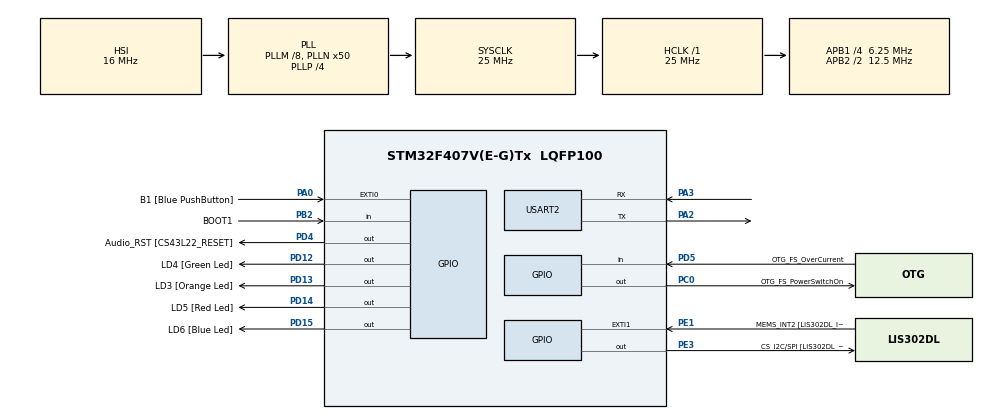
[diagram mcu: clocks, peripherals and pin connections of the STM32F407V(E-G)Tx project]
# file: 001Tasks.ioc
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Dma.Request0=USART2_RX
Dma.Request1=USART2_TX
Dma.USART2_RX.0.Direction=DMA_PERIPH_TO_MEMORY
Dma.USART2_RX.0.FIFOMode=DMA_FIFOMODE_DISABLE
Dma.USART2_RX.0.Instance=DMA1_Stream5
Dma.USART2_RX.0.MemDataAlignment=DMA_MDATAALIGN_BYTE
Dma.USART2_RX.0.MemInc=DMA_MINC_ENABLE
Dma.USART2_RX.0.Mode=DMA_NORMAL
Dma.USART2_RX.0.PeriphDataAlignment=DMA_PDATAALIGN_BYTE
Dma.USART2_RX.0.PeriphInc=DMA_PINC_DISABLE
Dma.USART2_RX.0.Priority=DMA_PRIORITY_LOW
Dma.USART2_TX.1.Direction=DMA_MEMORY_TO_PERIPH
Dma.USART2_TX.1.FIFOMode=DMA_FIFOMODE_DISABLE
Dma.USART2_TX.1.Instance=DMA1_Stream6
Dma.USART2_TX.1.MemDataAlignment=DMA_MDATAALIGN_BYTE
Dma.USART2_TX.1.MemInc=DMA_MINC_ENABLE
Dma.USART2_TX.1.Mode=DMA_NORMAL
Dma.USART2_TX.1.PeriphDataAlignment=DMA_PDATAALIGN_BYTE
Dma.USART2_TX.1.PeriphInc=DMA_PINC_DISABLE
Dma.USART2_TX.1.Priority=DMA_PRIORITY_LOW
Mcu.Family=STM32F4
Mcu.Name=STM32F407V(E-G)Tx
Mcu.Package=LQFP100
NVIC.DMA1_Stream5_IRQn=true\:0\:0\:false\:false\:true\:false\:true\:true
NVIC.DMA1_Stream6_IRQn=true\:0\:0\:false\:false\:true\:false\:true\:true
NVIC.PriorityGroup=NVIC_PRIORITYGROUP_4
NVIC.TIM6_DAC_IRQn=true\:0\:0\:false\:false\:true\:false\:true\:true
NVIC.TimeBase=TIM6_DAC_IRQn
NVIC.TimeBaseIP=TIM6
NVIC.USART2_IRQn=true\:0\:0\:false\:false\:true\:true\:true\:true
PA0-WKUP.GPIO_Label=B1 [Blue PushButton]
PA0-WKUP.Signal=GPXTI0
PA10.GPIO_Label=OTG_FS_ID
PA10.GPIO_Mode=GPIO_MODE_AF_PP
PA10.GPIO_PuPd=GPIO_NOPULL
PA10.GPIO_Speed=GPIO_SPEED_FREQ_LOW
PA10.Signal=USB_OTG_FS_ID
PA11.GPIO_Label=OTG_FS_DM
PA11.GPIO_Mode=GPIO_MODE_AF_PP
PA11.GPIO_PuPd=GPIO_NOPULL
PA11.GPIO_Speed=GPIO_SPEED_FREQ_LOW
PA11.Signal=USB_OTG_FS_DM
PA12.GPIO_Label=OTG_FS_DP
PA12.GPIO_Mode=GPIO_MODE_AF_PP
PA12.GPIO_PuPd=GPIO_NOPULL
PA12.GPIO_Speed=GPIO_SPEED_FREQ_LOW
PA12.Signal=USB_OTG_FS_DP
PA13.GPIO_Label=SWDIO
PA13.Signal=SYS_JTMS-SWDIO
PA14.GPIO_Label=SWCLK
PA14.Signal=SYS_JTCK-SWCLK
PA2.Mode=Asynchronous
PA2.Signal=USART2_TX
PA3.Mode=Asynchronous
PA3.Signal=USART2_RX
PA4.GPIO_Label=I2S3_WS [CS43L22_LRCK]
PA4.GPIO_Mode=GPIO_MODE_AF_PP
PA4.GPIO_PuPd=GPIO_NOPULL
PA4.GPIO_Speed=GPIO_SPEED_FREQ_LOW
PA4.Signal=I2S3_WS
PA5.GPIO_Label=SPI1_SCK [LIS302DL_SCL/SPC]
PA5.GPIO_Mode=GPIO_MODE_AF_PP
PA5.GPIO_PuPd=GPIO_NOPULL
PA5.GPIO_Speed=GPIO_SPEED_FREQ_LOW
PA5.Signal=SPI1_SCK
PA6.GPIO_Label=SPI1_MISO [LIS302DL_SDO]
PA6.GPIO_Mode=GPIO_MODE_AF_PP
PA6.GPIO_PuPd=GPIO_NOPULL
PA6.GPIO_Speed=GPIO_SPEED_FREQ_LOW
PA6.Signal=SPI1_MISO
PA7.GPIO_Label=SPI1_MOSI [LIS302DL_SDA/SDI/SDO]
PA7.GPIO_Mode=GPIO_MODE_AF_PP
PA7.GPIO_PuPd=GPIO_NOPULL
PA7.GPIO_Speed=GPIO_SPEED_FREQ_LOW
PA7.Signal=SPI1_MOSI
PA9.GPIO_Label=VBUS_FS
PA9.GPIO_Mode=GPIO_MODE_INPUT
PA9.GPIO_PuPd=GPIO_NOPULL
PA9.Signal=USB_OTG_FS_VBUS
PB10.GPIO_Label=CLK_IN [MP45DT02_CLK]
PB10.GPIO_Mode=GPIO_MODE_AF_PP
PB10.GPIO_PuPd=GPIO_NOPULL
PB10.GPIO_Speed=GPIO_SPEED_FREQ_LOW
PB10.Signal=I2S2_CK
PB2.GPIO_Label=BOOT1
PB2.GPIO_Mode=GPIO_MODE_INPUT
PB2.GPIO_PuPd=GPIO_NOPULL
PB2.Signal=GPIO_Input
PB3.GPIO_Label=SWO
PB3.Signal=SYS_JTDO-SWO
PB6.GPIO_Label=Audio_SCL [CS43L22_SCL]
PB6.GPIO_Mode=GPIO_MODE_AF_OD
PB6.GPIO_PuPd=GPIO_NOPULL
PB6.GPIO_Speed=GPIO_SPEED_FREQ_LOW
PB6.Signal=I2C1_SCL
PB9.GPIO_Label=Audio_SDA [CS43L22_SDA]
PB9.GPIO_Mode=GPIO_MODE_AF_OD
PB9.GPIO_PuPd=GPIO_NOPULL
PB9.GPIO_Speed=GPIO_SPEED_FREQ_LOW
PB9.Signal=I2C1_SDA
PC0.GPIO_Label=OTG_FS_PowerSwitchOn
PC0.GPIO_PuPd=GPIO_NOPULL
PC0.GPIO_Speed=GPIO_SPEED_FREQ_LOW
PC0.PinState=GPIO_PIN_SET
PC0.Signal=GPIO_Output
PC10.GPIO_Label=I2S3_SCK [CS43L22_SCLK]
PC10.GPIO_Mode=GPIO_MODE_AF_PP
PC10.GPIO_PuPd=GPIO_NOPULL
PC10.GPIO_Speed=GPIO_SPEED_FREQ_LOW
PC10.Signal=I2S3_CK
PC12.GPIO_Label=I2S3_SD [CS43L22_SDIN]
PC12.GPIO_Mode=GPIO_MODE_AF_PP
PC12.GPIO_PuPd=GPIO_NOPULL
PC12.GPIO_Speed=GPIO_SPEED_FREQ_LOW
PC12.Signal=I2S3_SD
PC14-OSC32_IN.GPIO_Label=PC14-OSC32_IN
PC14-OSC32_IN.Signal=RCC_OSC32_IN
PC15-OSC32_OUT.GPIO_Label=PC15-OSC32_OUT
PC15-OSC32_OUT.Signal=RCC_OSC32_OUT
PC3.GPIO_Label=PDM_OUT [MP45DT02_DOUT]
PC3.GPIO_Mode=GPIO_MODE_AF_PP
PC3.GPIO_PuPd=GPIO_NOPULL
PC3.GPIO_Speed=GPIO_SPEED_FREQ_LOW
PC3.Signal=I2S2_SD
PC7.GPIO_Label=I2S3_MCK [CS43L22_MCLK]
PC7.GPIO_Mode=GPIO_MODE_AF_PP
PC7.GPIO_PuPd=GPIO_NOPULL
PC7.GPIO_Speed=GPIO_SPEED_FREQ_LOW
PC7.Signal=I2S3_MCK
PD12.GPIO_Label=LD4 [Green Led]
PD12.GPIO_PuPd=GPIO_NOPULL
PD12.GPIO_Speed=GPIO_SPEED_FREQ_LOW
PD12.Signal=GPIO_Output
PD13.GPIO_Label=LD3 [Orange Led]
PD13.GPIO_PuPd=GPIO_NOPULL
PD13.GPIO_Speed=GPIO_SPEED_FREQ_LOW
PD13.Signal=GPIO_Output
PD14.GPIO_Label=LD5 [Red Led]
PD14.GPIO_PuPd=GPIO_NOPULL
PD14.GPIO_Speed=GPIO_SPEED_FREQ_LOW
PD14.Signal=GPIO_Output
PD15.GPIO_Label=LD6 [Blue Led]
PD15.GPIO_PuPd=GPIO_NOPULL
PD15.GPIO_Speed=GPIO_SPEED_FREQ_LOW
PD15.Signal=GPIO_Output
PD4.GPIO_Label=Audio_RST [CS43L22_RESET]
PD4.GPIO_PuPd=GPIO_NOPULL
PD4.GPIO_Speed=GPIO_SPEED_FREQ_LOW
PD4.Signal=GPIO_Output
PD5.GPIO_Label=OTG_FS_OverCurrent
PD5.GPIO_Mode=GPIO_MODE_INPUT
PD5.GPIO_PuPd=GPIO_NOPULL
PD5.Signal=GPIO_Input
PE1.GPIO_Label=MEMS_INT2 [LIS302DL_INT2]
PE1.GPIO_ModeDefaultEXTI=GPIO_MODE_EVT_RISING
PE1.GPIO_PuPd=GPIO_NOPULL
PE1.Signal=GPXTI1
PE3.GPIO_Label=CS_I2C/SPI [LIS302DL_CS_I2C/SPI]
PE3.GPIO_PuPd=GPIO_NOPULL
PE3.GPIO_Speed=GPIO_SPEED_FREQ_LOW
PE3.Signal=GPIO_Output
PH0-OSC_IN.GPIO_Label=PH0-OSC_IN
PH0-OSC_IN.Signal=RCC_OSC_IN
PH1-OSC_OUT.GPIO_Label=PH1-OSC_OUT
PH1-OSC_OUT.Signal=RCC_OSC_OUT
ProjectManager.HeapSize=0x200
ProjectManager.StackSize=0x400
ProjectManager.TargetToolchain=STM32CubeIDE
RCC.48MHZClocksFreq_Value=14285714.285714285
RCC.AHBFreq_Value=25000000
RCC.APB1CLKDivider=RCC_HCLK_DIV4
RCC.APB1Freq_Value=6250000
RCC.APB1TimFreq_Value=12500000
RCC.APB2CLKDivider=RCC_HCLK_DIV2
RCC.APB2Freq_Value=12500000
RCC.APB2TimFreq_Value=25000000
RCC.CortexFreq_Value=25000000
RCC.HCLKFreq_Value=25000000
RCC.HSE_VALUE=8000000
RCC.HSI_VALUE=16000000
RCC.LSE_VALUE=32768
RCC.PLLM=8
RCC.PLLN=50
RCC.PLLP=RCC_PLLP_DIV4
RCC.PLLQ=7
RCC.SYSCLKFreq_VALUE=25000000
RCC.SYSCLKSource=RCC_SYSCLKSOURCE_PLLCLK
RCC.VCOOutputFreq_Value=100000000
USART2.VirtualMode=VM_ASYNC
VP_SYS_VS_tim6.Mode=TIM6
board=STM32F407G-DISC1

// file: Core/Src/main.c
/* USER CODE BEGIN Header */
/**
  ******************************************************************************
  * @file           : main.c
  * @brief          : Main program body
  ******************************************************************************
  * @attention
  *
  * Copyright (c) 2023 STMicroelectronics.
  * All rights reserved.
  *
  * This software is licensed under terms that can be found in the LICENSE file
  * in the root directory of this software component.
  * If no LICENSE file comes with this software, it is provided AS-IS.
  *
  ******************************************************************************
  */
/* USER CODE END Header */
#include "main.h"

/* USER CODE BEGIN Includes */
#include <string.h>
#include <stdio.h>
#include "FreeRTOS.h"
#include "task.h"
/* USER CODE END Includes */

UART_HandleTypeDef huart2;
DMA_HandleTypeDef hdma_usart2_rx;
DMA_HandleTypeDef hdma_usart2_tx;

void SystemClock_Config(void);
static void MX_GPIO_Init(void);
static void MX_DMA_Init(void);
static void MX_USART2_UART_Init(void);
/* USER CODE BEGIN PFP */
static void task1Handler(void *parameters);
static void task2Handler(void *parameters);

/* USER CODE END PFP */

int main(void)
{
  /* USER CODE BEGIN 1 */
	TaskHandle_t task1Handle = NULL;
	TaskHandle_t task2Handle = NULL;
	BaseType_t status;

  /* USER CODE END 1 */

  /* MCU Configuration--------------------------------------------------------*/

  /* Reset of all peripherals, Initializes the Flash interface and the Systick. */
  HAL_Init();

  /* Configure the system clock */
  SystemClock_Config();

  /* Initialize all configured peripherals */
  MX_GPIO_Init();
  MX_DMA_Init();
  MX_USART2_UART_Init();
  /* USER CODE BEGIN 2 */
	status = xTaskCreate(task1Handler, "Task-1", 200, " ", 2, &task1Handle);

	configASSERT(status == pdPASS);

	status = xTaskCreate(task2Handler, "Task-2", 200, " ", 2, &task2Handle);

	configASSERT(status == pdPASS);

  //start FreeRTOS scheduler
  vTaskStartScheduler();

  GPIO_InitTypeDef GPIO_InitStruct = {0};
  GPIO_InitStruct.Mode = GPIO_MODE_OUTPUT_PP;
  GPIO_InitStruct.Pull = GPIO_NOPULL;

  uint16_t leds[] = {GPIO_PIN_12, GPIO_PIN_13, GPIO_PIN_14, GPIO_PIN_15};
  int num_leds = sizeof(leds) / sizeof(leds[0]);

  for (int i = 0; i < num_leds; i++) {
	  GPIO_InitStruct.Pin = leds[i];
	  HAL_GPIO_Init(GPIOD, &GPIO_InitStruct);
  }

  //if the control comes here then the launch of the scheduler has failed due to insufficient
  // memory in heap

  /* USER CODE END 2 */

  /* Infinite loop */
  while (1)
  {

  }
}

void SystemClock_Config(void)
{
  RCC_OscInitTypeDef RCC_OscInitStruct = {0};
  RCC_ClkInitTypeDef RCC_ClkInitStruct = {0};

  /** Configure the main internal regulator output voltage
  */
  __HAL_RCC_PWR_CLK_ENABLE();
  __HAL_PWR_VOLTAGESCALING_CONFIG(PWR_REGULATOR_VOLTAGE_SCALE1);

  /** Initializes the RCC Oscillators according to the specified parameters
  * in the RCC_OscInitTypeDef structure.
  */
  RCC_OscInitStruct.OscillatorType = RCC_OSCILLATORTYPE_HSI;
  RCC_OscInitStruct.HSIState = RCC_HSI_ON;
  RCC_OscInitStruct.HSICalibrationValue = RCC_HSICALIBRATION_DEFAULT;
  RCC_OscInitStruct.PLL.PLLState = RCC_PLL_ON;
  RCC_OscInitStruct.PLL.PLLSource = RCC_PLLSOURCE_HSI;
  RCC_OscInitStruct.PLL.PLLM = 8;
  RCC_OscInitStruct.PLL.PLLN = 50;
  RCC_OscInitStruct.PLL.PLLP = RCC_PLLP_DIV4;
  RCC_OscInitStruct.PLL.PLLQ = 7;
  if (HAL_RCC_OscConfig(&RCC_OscInitStruct) != HAL_OK)
  {
    Error_Handler();
  }

  /** Initializes the CPU, AHB and APB buses clocks
  */
  RCC_ClkInitStruct.ClockType = RCC_CLOCKTYPE_HCLK|RCC_CLOCKTYPE_SYSCLK
                              |RCC_CLOCKTYPE_PCLK1|RCC_CLOCKTYPE_PCLK2;
  RCC_ClkInitStruct.SYSCLKSource = RCC_SYSCLKSOURCE_PLLCLK;
  RCC_ClkInitStruct.AHBCLKDivider = RCC_SYSCLK_DIV1;
  RCC_ClkInitStruct.APB1CLKDivider = RCC_HCLK_DIV4;
  RCC_ClkInitStruct.APB2CLKDivider = RCC_HCLK_DIV2;

  if (HAL_RCC_ClockConfig(&RCC_ClkInitStruct, FLASH_LATENCY_0) != HAL_OK)
  {
    Error_Handler();
  }
}

static void MX_USART2_UART_Init(void)
{

  huart2.Instance = USART2;
  huart2.Init.BaudRate = 115200;
  huart2.Init.WordLength = UART_WORDLENGTH_8B;
  huart2.Init.StopBits = UART_STOPBITS_1;
  huart2.Init.Parity = UART_PARITY_NONE;
  huart2.Init.Mode = UART_MODE_TX_RX;
  huart2.Init.HwFlowCtl = UART_HWCONTROL_NONE;
  huart2.Init.OverSampling = UART_OVERSAMPLING_16;
  if (HAL_UART_Init(&huart2) != HAL_OK)
  {
    Error_Handler();
  }

}

static void MX_DMA_Init(void)
{

  /* DMA controller clock enable */
  __HAL_RCC_DMA1_CLK_ENABLE();

  /* DMA interrupt init */
  /* DMA1_Stream5_IRQn interrupt configuration */
  HAL_NVIC_SetPriority(DMA1_Stream5_IRQn, 0, 0);
  HAL_NVIC_EnableIRQ(DMA1_Stream5_IRQn);
  /* DMA1_Stream6_IRQn interrupt configuration */
  HAL_NVIC_SetPriority(DMA1_Stream6_IRQn, 0, 0);
  HAL_NVIC_EnableIRQ(DMA1_Stream6_IRQn);

}

static void MX_GPIO_Init(void)
{
  GPIO_InitTypeDef GPIO_InitStruct = {0};

  /* GPIO Ports Clock Enable */
  __HAL_RCC_GPIOE_CLK_ENABLE();
  __HAL_RCC_GPIOC_CLK_ENABLE();
  __HAL_RCC_GPIOH_CLK_ENABLE();
  __HAL_RCC_GPIOA_CLK_ENABLE();
  __HAL_RCC_GPIOB_CLK_ENABLE();
  __HAL_RCC_GPIOD_CLK_ENABLE();

  /*Configure GPIO pin Output Level */
  HAL_GPIO_WritePin(CS_I2C_SPI_GPIO_Port, CS_I2C_SPI_Pin, GPIO_PIN_RESET);

  /*Configure GPIO pin Output Level */
  HAL_GPIO_WritePin(OTG_FS_PowerSwitchOn_GPIO_Port, OTG_FS_PowerSwitchOn_Pin, GPIO_PIN_SET);

  /*Configure GPIO pin Output Level */
  HAL_GPIO_WritePin(GPIOD, LD4_Pin|LD3_Pin|LD5_Pin|LD6_Pin
                          |Audio_RST_Pin, GPIO_PIN_RESET);

  /*Configure GPIO pin : CS_I2C_SPI_Pin */
  GPIO_InitStruct.Pin = CS_I2C_SPI_Pin;
  GPIO_InitStruct.Mode = GPIO_MODE_OUTPUT_PP;
  GPIO_InitStruct.Pull = GPIO_NOPULL;
  GPIO_InitStruct.Speed = GPIO_SPEED_FREQ_LOW;
  HAL_GPIO_Init(CS_I2C_SPI_GPIO_Port, &GPIO_InitStruct);

  /*Configure GPIO pin : OTG_FS_PowerSwitchOn_Pin */
  GPIO_InitStruct.Pin = OTG_FS_PowerSwitchOn_Pin;
  GPIO_InitStruct.Mode = GPIO_MODE_OUTPUT_PP;
  GPIO_InitStruct.Pull = GPIO_NOPULL;
  GPIO_InitStruct.Speed = GPIO_SPEED_FREQ_LOW;
  HAL_GPIO_Init(OTG_FS_PowerSwitchOn_GPIO_Port, &GPIO_InitStruct);

  /*Configure GPIO pin : PDM_OUT_Pin */
  GPIO_InitStruct.Pin = PDM_OUT_Pin;
  GPIO_InitStruct.Mode = GPIO_MODE_AF_PP;
  GPIO_InitStruct.Pull = GPIO_NOPULL;
  GPIO_InitStruct.Speed = GPIO_SPEED_FREQ_LOW;
  GPIO_InitStruct.Alternate = GPIO_AF5_SPI2;
  HAL_GPIO_Init(PDM_OUT_GPIO_Port, &GPIO_InitStruct);

  /*Configure GPIO pin : B1_Pin */
  GPIO_InitStruct.Pin = B1_Pin;
  GPIO_InitStruct.Mode = GPIO_MODE_IT_RISING;
  GPIO_InitStruct.Pull = GPIO_NOPULL;
  HAL_GPIO_Init(B1_GPIO_Port, &GPIO_InitStruct);

  /*Configure GPIO pin : I2S3_WS_Pin */
  GPIO_InitStruct.Pin = I2S3_WS_Pin;
  GPIO_InitStruct.Mode = GPIO_MODE_AF_PP;
  GPIO_InitStruct.Pull = GPIO_NOPULL;
  GPIO_InitStruct.Speed = GPIO_SPEED_FREQ_LOW;
  GPIO_InitStruct.Alternate = GPIO_AF6_SPI3;
  HAL_GPIO_Init(I2S3_WS_GPIO_Port, &GPIO_InitStruct);

  /*Configure GPIO pins : SPI1_SCK_Pin SPI1_MISO_Pin SPI1_MOSI_Pin */
  GPIO_InitStruct.Pin = SPI1_SCK_Pin|SPI1_MISO_Pin|SPI1_MOSI_Pin;
  GPIO_InitStruct.Mode = GPIO_MODE_AF_PP;
  GPIO_InitStruct.Pull = GPIO_NOPULL;
  GPIO_InitStruct.Speed = GPIO_SPEED_FREQ_LOW;
  GPIO_InitStruct.Alternate = GPIO_AF5_SPI1;
  HAL_GPIO_Init(GPIOA, &GPIO_InitStruct);

  /*Configure GPIO pin : BOOT1_Pin */
  GPIO_InitStruct.Pin = BOOT1_Pin;
  GPIO_InitStruct.Mode = GPIO_MODE_INPUT;
  GPIO_InitStruct.Pull = GPIO_NOPULL;
  HAL_GPIO_Init(BOOT1_GPIO_Port, &GPIO_InitStruct);

  /*Configure GPIO pin : CLK_IN_Pin */
  GPIO_InitStruct.Pin = CLK_IN_Pin;
  GPIO_InitStruct.Mode = GPIO_MODE_AF_PP;
  GPIO_InitStruct.Pull = GPIO_NOPULL;
  GPIO_InitStruct.Speed = GPIO_SPEED_FREQ_LOW;
  GPIO_InitStruct.Alternate = GPIO_AF5_SPI2;
  HAL_GPIO_Init(CLK_IN_GPIO_Port, &GPIO_InitStruct);

  /*Configure GPIO pins : LD4_Pin LD3_Pin LD5_Pin LD6_Pin
                           Audio_RST_Pin */
  GPIO_InitStruct.Pin = LD4_Pin|LD3_Pin|LD5_Pin|LD6_Pin
                          |Audio_RST_Pin;
  GPIO_InitStruct.Mode = GPIO_MODE_OUTPUT_PP;
  GPIO_InitStruct.Pull = GPIO_NOPULL;
  GPIO_InitStruct.Speed = GPIO_SPEED_FREQ_LOW;
  HAL_GPIO_Init(GPIOD, &GPIO_InitStruct);

  /*Configure GPIO pins : I2S3_MCK_Pin I2S3_SCK_Pin I2S3_SD_Pin */
  GPIO_InitStruct.Pin = I2S3_MCK_Pin|I2S3_SCK_Pin|I2S3_SD_Pin;
  GPIO_InitStruct.Mode = GPIO_MODE_AF_PP;
  GPIO_InitStruct.Pull = GPIO_NOPULL;
  GPIO_InitStruct.Speed = GPIO_SPEED_FREQ_LOW;
  GPIO_InitStruct.Alternate = GPIO_AF6_SPI3;
  HAL_GPIO_Init(GPIOC, &GPIO_InitStruct);

  /*Configure GPIO pin : VBUS_FS_Pin */
  GPIO_InitStruct.Pin = VBUS_FS_Pin;
  GPIO_InitStruct.Mode = GPIO_MODE_INPUT;
  GPIO_InitStruct.Pull = GPIO_NOPULL;
  HAL_GPIO_Init(VBUS_FS_GPIO_Port, &GPIO_InitStruct);

  /*Configure GPIO pins : OTG_FS_ID_Pin OTG_FS_DM_Pin OTG_FS_DP_Pin */
  GPIO_InitStruct.Pin = OTG_FS_ID_Pin|OTG_FS_DM_Pin|OTG_FS_DP_Pin;
  GPIO_InitStruct.Mode = GPIO_MODE_AF_PP;
  GPIO_InitStruct.Pull = GPIO_NOPULL;
  GPIO_InitStruct.Speed = GPIO_SPEED_FREQ_LOW;
  GPIO_InitStruct.Alternate = GPIO_AF10_OTG_FS;
  HAL_GPIO_Init(GPIOA, &GPIO_InitStruct);

  /*Configure GPIO pin : OTG_FS_OverCurrent_Pin */
  GPIO_InitStruct.Pin = OTG_FS_OverCurrent_Pin;
  GPIO_InitStruct.Mode = GPIO_MODE_INPUT;
  GPIO_InitStruct.Pull = GPIO_NOPULL;
  HAL_GPIO_Init(OTG_FS_OverCurrent_GPIO_Port, &GPIO_InitStruct);

  /*Configure GPIO pins : Audio_SCL_Pin Audio_SDA_Pin */
  GPIO_InitStruct.Pin = Audio_SCL_Pin|Audio_SDA_Pin;
  GPIO_InitStruct.Mode = GPIO_MODE_AF_OD;
  GPIO_InitStruct.Pull = GPIO_NOPULL;
  GPIO_InitStruct.Speed = GPIO_SPEED_FREQ_LOW;
  GPIO_InitStruct.Alternate = GPIO_AF4_I2C1;
  HAL_GPIO_Init(GPIOB, &GPIO_InitStruct);

  /*Configure GPIO pin : MEMS_INT2_Pin */
  GPIO_InitStruct.Pin = MEMS_INT2_Pin;
  GPIO_InitStruct.Mode = GPIO_MODE_EVT_RISING;
  GPIO_InitStruct.Pull = GPIO_NOPULL;
  HAL_GPIO_Init(MEMS_INT2_GPIO_Port, &GPIO_InitStruct);

}

/* USER CODE BEGIN 4 */
uint16_t g_customDelay = 1;
static void task1Handler(void *parameters)
{
	uint8_t receiveBuffer[6];
	while(1) {
//		printf("%s\n", (char *)parameters);
		HAL_UART_Receive_IT(&huart2, receiveBuffer, 6);
		g_customDelay = receiveBuffer;

	}
}

static void task2Handler(void *parameters)
{
	while(1) {
//			printf("%s\n", (char *)parameters);
			HAL_GPIO_TogglePin(GPIOD, GPIO_PIN_13);
			vTaskDelay(g_customDelay / portTICK_PERIOD_MS);
		}
}

/* USER CODE END 4 */

void HAL_TIM_PeriodElapsedCallback(TIM_HandleTypeDef *htim)
{
  if (htim->Instance == TIM6) {
    HAL_IncTick();
  }
}

void Error_Handler(void)
{
  __disable_irq();
  while (1)
  {
  }
}
